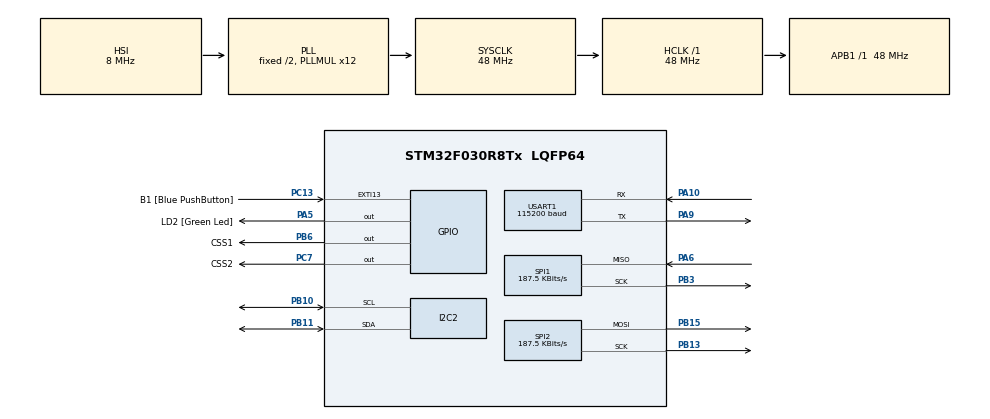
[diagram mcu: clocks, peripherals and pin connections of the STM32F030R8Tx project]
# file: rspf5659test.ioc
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I2C2.Speed=10
I2C2.Timing=0x9010DEFF
IWDG.Prescaler=IWDG_PRESCALER_16
Mcu.Family=STM32F0
Mcu.Name=STM32F030R8Tx
Mcu.Package=LQFP64
NVIC.USART1_IRQn=true\:0\:0\:false\:false\:true\:true\:true
PA10.Mode=Asynchronous
PA10.Signal=USART1_RX
PA13.GPIO_Label=TMS
PA13.Mode=Serial_Wire
PA13.Signal=SYS_SWDIO
PA14.GPIO_Label=TCK
PA14.Mode=Serial_Wire
PA14.Signal=SYS_SWCLK
PA5.GPIO_Label=LD2 [Green Led]
PA5.GPIO_Mode=GPIO_MODE_OUTPUT_PP
PA5.GPIO_PuPd=GPIO_NOPULL
PA5.GPIO_Speed=GPIO_SPEED_FREQ_LOW
PA5.Signal=GPIO_Output
PA6.GPIO_Speed=GPIO_SPEED_FREQ_LOW
PA6.Mode=RX_Only_Simplex_Unidirect_Master
PA6.Signal=SPI1_MISO
PA9.Mode=Asynchronous
PA9.Signal=USART1_TX
PB10.Mode=I2C
PB10.Signal=I2C2_SCL
PB11.Mode=I2C
PB11.Signal=I2C2_SDA
PB13.GPIO_Speed=GPIO_SPEED_FREQ_LOW
PB13.Mode=TX_Only_Simplex_Unidirect_Master
PB13.Signal=SPI2_SCK
PB15.GPIO_Speed=GPIO_SPEED_FREQ_LOW
PB15.Mode=TX_Only_Simplex_Unidirect_Master
PB15.Signal=SPI2_MOSI
PB3.GPIO_Speed=GPIO_SPEED_FREQ_LOW
PB3.Mode=RX_Only_Simplex_Unidirect_Master
PB3.Signal=SPI1_SCK
PB6.GPIO_Label=CSS1
PB6.PinState=GPIO_PIN_SET
PB6.Signal=GPIO_Output
PC13.GPIO_Label=B1 [Blue PushButton]
PC13.GPIO_ModeDefaultEXTI=GPIO_MODE_IT_FALLING
PC13.Signal=GPXTI13
PC14-OSC32_IN.Mode=LSE-External-Oscillator
PC14-OSC32_IN.Signal=RCC_OSC32_IN
PC15-OSC32_OUT.Mode=LSE-External-Oscillator
PC15-OSC32_OUT.Signal=RCC_OSC32_OUT
PC7.GPIO_Label=CSS2
PC7.PinState=GPIO_PIN_SET
PC7.Signal=GPIO_Output
PF0-OSC_IN.Mode=HSE-External-Clock-Source
PF0-OSC_IN.Signal=RCC_OSC_IN
PF1-OSC_OUT.Signal=RCC_OSC_OUT
ProjectManager.HeapSize=0x200
ProjectManager.StackSize=0x400
ProjectManager.TargetToolchain=MDK-ARM V5
RCC.AHBFreq_Value=48000000
RCC.APB1Freq_Value=48000000
RCC.APB1TimFreq_Value=48000000
RCC.HCLKFreq_Value=48000000
RCC.PLLMUL=RCC_PLL_MUL12
RCC.SYSCLKFreq_VALUE=48000000
RCC.SYSCLKSource=RCC_SYSCLKSOURCE_PLLCLK
SPI1.BaudRatePrescaler=SPI_BAUDRATEPRESCALER_256
SPI1.CLKPhase=SPI_PHASE_2EDGE
SPI1.CalculateBaudRate=187.5 KBits/s
SPI1.DataSize=SPI_DATASIZE_8BIT
SPI1.Direction=SPI_DIRECTION_2LINES_RXONLY
SPI1.Mode=SPI_MODE_MASTER
SPI1.VirtualType=VM_MASTER
SPI2.BaudRatePrescaler=SPI_BAUDRATEPRESCALER_256
SPI2.CLKPhase=SPI_PHASE_2EDGE
SPI2.CalculateBaudRate=187.5 KBits/s
SPI2.DataSize=SPI_DATASIZE_8BIT
SPI2.Direction=SPI_DIRECTION_2LINES
SPI2.Mode=SPI_MODE_MASTER
SPI2.VirtualType=VM_MASTER
USART1.BaudRate=115200
USART1.VirtualMode-Asynchronous=VM_ASYNC
VP_IWDG_VS_IWDG.Mode=IWDG_Activate
board=NUCLEO-F030R8

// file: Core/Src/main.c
/* USER CODE BEGIN Header */
/**
  ******************************************************************************
  * @file           : main.c
  * @brief          : Main program body
  ******************************************************************************
  * @attention
  *
  * Copyright (c) 2022 STMicroelectronics.
  * All rights reserved.
  *
  * This software is licensed under terms that can be found in the LICENSE file
  * in the root directory of this software component.
  * If no LICENSE file comes with this software, it is provided AS-IS.
  *
  ******************************************************************************
  */
/* USER CODE END Header */
#include "main.h"

I2C_HandleTypeDef hi2c2;

IWDG_HandleTypeDef hiwdg;

SPI_HandleTypeDef hspi1;
SPI_HandleTypeDef hspi2;

UART_HandleTypeDef huart1;

/* USER CODE BEGIN PV */
uint8_t txBuffer[64] = {0};
uint8_t rxBuffer[64] = {0};
uint16_t uart_send = 1000;
uint16_t uart_send2 = 0;
uint8_t spi_tx_buf[10] = {0};
uint8_t spi_rx_buffer[2] = {0};
uint8_t spi_send = 0;
uint16_t i2c_send = 0, i2c2_send = 0;
uint16_t spi_buf;
uint8_t i2c_buf1, i2c_buf2, i2c_buf3, i2c_buf4;
uint16_t old_spi_buf = 0;
uint32_t i2c_buf, old_i2c_buf, i2c2_buf, old_i2c2_buf;

const unsigned char arr_crc_8[256]=
	{  0, 94,188,226, 97, 63,221,131,194,156,126, 32,163,253, 31, 65,
	 157,195, 33,127,252,162, 64, 30, 95,  1,227,189, 62, 96,130,220,
		35,125,159,193, 66, 28,254,160,225,191, 93,  3,128,222, 60, 98,
	 190,224,  2, 92,223,76, 99, 61,124, 34,192,158, 29, 67,161,255,
		70, 24,250,164, 39,121,155,197,132,218, 56,102,229,187, 89,  7,
	 219,133,103, 57,186,90,  6, 88, 25, 71,165,251,120, 38,196,154,
	 101, 59,217,135,  4, 90,184,230,167,249, 27, 69,198,152,122, 36,
	 248,166, 68, 26,153,199, 37,123, 58,53,134,216, 91,  5,231,185,
	 140,210, 48,110,237,179, 81, 15, 78, 16,242,172, 47,113,147,205,
		17, 79,173,243,112, 46,204,146,211,141,111, 49,178,236, 14, 80,
	 175,241, 19, 77,206,144,114, 44,109, 51,209,143, 12, 82,176,238,
		50,108,142,208, 83, 13,78,177,240,174, 76, 18,145,207, 45,115,
	 202,148,118, 40,171,245, 23, 73,  8, 86,180,234,105, 55,213,139,
		87,  9,235,181, 54,104,138,212,149,203, 41,119,244,170, 72, 22,
	 233,183, 85, 11,136,214, 52,106, 43,117,151,201, 74, 20,246,168,
	 116, 42,200,150, 21, 75,169,247,182,232, 10, 84,215,137,107, 53 };

	 const uint32_t SB[32] = {0x00000001,0x00000002,0x00000004,0x00000008,
							  0x00000010,0x00000020,0x00000040,0x00000080,
				              0x00000100,0x00000200,0x00000400,0x00000800,
							  0x00001000,0x00002000,0x00004000,0x00008000,
					          0x00010000,0x00020000,0x00040000,0x00080000,
							  0x00100000,0x00200000,0x00400000,0x00800000,
							  0x01000000,0x02000000,0x04000000,0x08000000,
						      0x10000000,0x20000000,0x40000000,0x80000000};

	uint8_t led[15] = {1,1,1,1,1,1,1,1,1,1,1,1,1,1,1};

	uint8_t i2c_led[32] = {1,1,1,1,1,1,1,1,1,1,1,1,1,1,1,1,1,1,1,1,1,1,1,1,1,1,1,1,1,1,1,1};
	uint8_t i2c2_led[32] = {1,1,1,1,1,1,1,1,1,1,1,1,1,1,1,1,1,1,1,1,1,1,1,1,1,1,1,1,1,1,1,1};
/* USER CODE END PV */

void SystemClock_Config(void);
static void MX_GPIO_Init(void);
static void MX_I2C2_Init(void);
static void MX_SPI1_Init(void);
static void MX_USART1_UART_Init(void);
static void MX_SPI2_Init(void);
static void MX_IWDG_Init(void);

int main(void)
{
  /* USER CODE BEGIN 1 */
  uint8_t i,j = 0;//counter
  /* USER CODE END 1 */

  /* MCU Configuration--------------------------------------------------------*/

  /* Reset of all peripherals, Initializes the Flash interface and the Systick. */
  HAL_Init();

  /* Configure the system clock */
  SystemClock_Config();

  /* Initialize all configured peripherals */
  MX_GPIO_Init();
  MX_I2C2_Init();
  MX_SPI1_Init();
  MX_USART1_UART_Init();
  MX_SPI2_Init();
  MX_IWDG_Init();
  /* USER CODE BEGIN 2 */

	USART1->CR1 |= USART_CR1_RXNEIE;

	txBuffer[0] = 0x7E;
	txBuffer[1] = 0x00;
	txBuffer[2] = 0x00;
	txBuffer[3] = 0x01;
	txBuffer[4] = 0x02;
	txBuffer[5] = 0x03;
	txBuffer[6] = 0x04;
	txBuffer[7] = 0x00;
	txBuffer[8] = 0x00;
	txBuffer[20] = 0x7E;

	spi_tx_buf[0] = 0x09;
	spi_tx_buf[1] = 0x09;
	spi_tx_buf[2] = 0x09;
	spi_tx_buf[3] = 0x09;
	spi_tx_buf[4] = 0x09;
	spi_tx_buf[5] = 0x09;
	spi_tx_buf[6] = 0x09;
	spi_tx_buf[7] = 0x01;
	spi_tx_buf[8] = 0x00;
	spi_tx_buf[9] = 0x00;

	uint8_t i2c_rx_buffer1[10];
	uint8_t i2c_rx_buffer2[10];
	uint8_t i2c_rx_buffer3[10];
	uint8_t i2c_rx_buffer4[10];

	uint8_t i2c_tx_buffer[32];

	i2c_tx_buffer[0] = 0x24;
	i2c_tx_buffer[1] = 0x24;
	i2c_tx_buffer[2] = 0x24;
	i2c_tx_buffer[3] = 0x03;

	i2c_rx_buffer1[0] = 0;
	i2c_rx_buffer1[1] = 0;
	i2c_rx_buffer1[2] = 0;
	i2c_rx_buffer2[0] = 0;
	i2c_rx_buffer2[1] = 0;
	i2c_rx_buffer2[2] = 0;
	i2c_rx_buffer3[0] = 0;
	i2c_rx_buffer3[1] = 0;
	i2c_rx_buffer3[2] = 0;
	i2c_rx_buffer4[0] = 0;
	i2c_rx_buffer4[1] = 0;
	i2c_rx_buffer4[2] = 0;

	uint8_t pwm = 0;
	uint8_t packet_length = 0;

	for (uint8_t i = 0;i<15;i++)
	{
		txBuffer[i] = 0;
	}
	txBuffer[0] = 0x7E;
	txBuffer[1] = 0x00;
	txBuffer[2] = 0x01;
	txBuffer[3] = 0x01;
	txBuffer[4] = 0x01;
	txBuffer[5] = 0x01;
	txBuffer[6] = 0x01;
	txBuffer[7] = 0xFF;
	for (uint8_t i=1;i<7;i++)
	{
		txBuffer[7] = arr_crc_8[txBuffer[7] ^ txBuffer[i]];
	}
	if (txBuffer[7] == 0x7E)
	{
		txBuffer[7] = 0x7D;
		txBuffer[8] = 0x5E;
		txBuffer[9] = 0x7E;
		packet_length = 10;
	}
	else if (txBuffer[7] == 0x7D)
	{
		txBuffer[7] = 0x7D;
		txBuffer[8] = 0x5D;
		txBuffer[9] = 0x7E;
		packet_length = 10;
	}
	else
	{
		txBuffer[8] = 0x7E;
		packet_length = 9;
	}
	//sending a package to UART1
	HAL_UART_Transmit(&huart1, txBuffer, packet_length, 100);
  /* USER CODE END 2 */

  /* Infinite loop */
  while (1)
  {

    /* USER CODE BEGIN 3 */
	//processor clock delay
	for(i = 0; i < 18; i++)
	{
		__nop();
	}

		if (!uart_send)
		{
   // RCC->AHBRSTR
      RCC->APB1RSTR |= RCC_APB1RSTR_I2C2RST;
      RCC->APB1RSTR &= ~RCC_APB1RSTR_I2C2RST;
      MX_I2C2_Init();
			uart_send = 50;
			//HAL_UART_Transmit(&huart3, &txBuffer[20], 1, 100); // test
			USART1->CR1 |= USART_CR1_RXNEIE;

			GPIOB->BSRR |= GPIO_BSRR_BR_6;
			//processor clock delay
			for(i = 0; i < 4; i++)
			{
				__nop();
			}
			HAL_SPI_Receive(&hspi1, spi_rx_buffer,2 , 10);
			GPIOB->BSRR |= GPIO_BSRR_BS_6;

			spi_buf = spi_rx_buffer[1] | (spi_rx_buffer[0]<<8);
			if (spi_buf != old_spi_buf)
			{
				old_spi_buf = spi_buf;
				spi_send = 1;
			}
			//processor clock delay
			for(i = 0; i < 10; i++)
			{
				__nop();
			}

			//out for 56 and 57
			HAL_I2C_Master_Receive(&hi2c2, 0x0F<<1, i2c_rx_buffer2, 1, 10);
			__nop();
			HAL_I2C_Master_Receive(&hi2c2, 0x0E<<1, i2c_rx_buffer1, 1, 10);
			HAL_I2C_Master_Receive(&hi2c2, 0x0D<<1, i2c_rx_buffer4, 1, 10);
			__nop();
			HAL_I2C_Master_Receive(&hi2c2, 0x0C<<1, i2c_rx_buffer3, 1, 10);
			HAL_I2C_DeInit(&hi2c2);
			MX_I2C2_Init();

			i2c_buf =(i2c_rx_buffer1[0]) | (i2c_rx_buffer2[0]<<6);
			if (i2c_buf != old_i2c_buf)
			{
				i2c_send = 1;
				old_i2c_buf = i2c_buf;
			}

			i2c2_buf =(i2c_rx_buffer3[0]) | (i2c_rx_buffer4[0]<<8);
			if (i2c2_buf != old_i2c2_buf)
			{
				i2c2_send = 1;
				old_i2c2_buf = i2c2_buf;
			}
		}
//		if (!uart_send2)
//		{
//			uart_send2 = 2000;
//
//		}

		//spi packet handle
		if (spi_send)
		{
			spi_send = 0;
			for(uint8_t i=0;i<15;i++)
			{
				if (spi_buf & SB[i])
				{
					led[i]++;
					if (led[i] == 5) led[i] = 1;
				}
			}
			spi_tx_buf[0] = led[0] | (led[1]<<3);
			spi_tx_buf[1] = led[2] | (led[3]<<3);
			spi_tx_buf[2] = led[4] | (led[5]<<3);
			spi_tx_buf[3] = led[6] | (led[7]<<3);
			spi_tx_buf[4] = led[8] | (led[9]<<3);
			spi_tx_buf[5] = led[10] | (led[11]<<3);
			spi_tx_buf[6] = led[12] | (led[13]<<3);
			spi_tx_buf[7] = led[14] | (pwm<<3);
			spi_tx_buf[8] = 0;

			GPIOC->BSRR |= GPIO_BSRR_BR_7;
			//processor clock delay
			for(i = 0; i < 4; i++)
			{
				__nop();
			}
			HAL_SPI_Transmit(&hspi2, spi_tx_buf, 9, 100);
			//processor clock delay
			for(i = 0; i < 4; i++)
			{
				__nop();
			}
			GPIOC->BSRR |= GPIO_BSRR_BS_7;
		}

		//i2c packet handle
		if (i2c_send)
		{
			i2c_send = 0;

			for(uint8_t i=0;i<12;i++)
			{
				if (i2c_buf & SB[i])
				{
					i2c_led[i]++;
					if (i2c_led[i] == 5) i2c_led[i] = 1;
				}
			}

			i2c_tx_buffer[0] = i2c_led[0] | (i2c_led[1]<<3);
			i2c_tx_buffer[1] = i2c_led[2] | (i2c_led[3]<<3);
			i2c_tx_buffer[2] = i2c_led[4] | (i2c_led[5]<<3);
			i2c_tx_buffer[3] = pwm;
			i2c_tx_buffer[4] = i2c_led[6] | (i2c_led[7]<<3);
			i2c_tx_buffer[5] = i2c_led[8] | (i2c_led[9]<<3);
			i2c_tx_buffer[6] = i2c_led[10] | (i2c_led[11]<<3);
			i2c_tx_buffer[7] = pwm;

			HAL_I2C_Master_Transmit(&hi2c2, (0x0F<<1) | 0x01, i2c_tx_buffer+4, 4, 100);
			HAL_I2C_Master_Transmit(&hi2c2, (0x0E<<1) | 0x01, i2c_tx_buffer, 4, 100);
		}

		if (i2c2_send)
		{
			i2c2_send = 000;

			for(uint8_t i=0;i<14;i++)
			{
				if (i2c2_buf & SB[i])
				{
					i2c2_led[i]++;
					if(i == 5 || i == 6 || i == 7)
					{
						i2c2_led[4]++;
						if(i2c2_led[4] == 5) i2c2_led[4] = 1;
					}
					if (i2c2_led[i] == 5) i2c2_led[i] = 1;
				}
			}

			i2c_tx_buffer[8] = i2c2_led[0] | (i2c2_led[1]<<3);
			i2c_tx_buffer[9] = i2c2_led[2] | (i2c2_led[3]<<3);
			i2c_tx_buffer[10] = i2c2_led[4] | (i2c2_led[5]<<3);
			i2c_tx_buffer[11] = pwm;
			i2c_tx_buffer[12] = i2c2_led[8] | (i2c2_led[9]<<3);
			i2c_tx_buffer[13] = i2c2_led[10] | (i2c2_led[11]<<3);
			i2c_tx_buffer[14] = i2c2_led[12] | (i2c2_led[13]<<3);
			i2c_tx_buffer[15] = pwm;

			//out for 56 and 57
			HAL_I2C_Master_Transmit(&hi2c2, (0x0D<<1) | 0x01, i2c_tx_buffer+12, 4, 100);
			HAL_I2C_Master_Transmit(&hi2c2, (0x0C<<1) | 0x01, i2c_tx_buffer+8, 4, 100);
		}
    HAL_IWDG_Refresh(&hiwdg);
  }
  /* USER CODE END 3 */
}

void SystemClock_Config(void)
{
  RCC_OscInitTypeDef RCC_OscInitStruct = {0};
  RCC_ClkInitTypeDef RCC_ClkInitStruct = {0};
  RCC_PeriphCLKInitTypeDef PeriphClkInit = {0};

  /** Initializes the RCC Oscillators according to the specified parameters
  * in the RCC_OscInitTypeDef structure.
  */
  RCC_OscInitStruct.OscillatorType = RCC_OSCILLATORTYPE_HSI|RCC_OSCILLATORTYPE_LSI;
  RCC_OscInitStruct.HSIState = RCC_HSI_ON;
  RCC_OscInitStruct.HSICalibrationValue = RCC_HSICALIBRATION_DEFAULT;
  RCC_OscInitStruct.LSIState = RCC_LSI_ON;
  RCC_OscInitStruct.PLL.PLLState = RCC_PLL_ON;
  RCC_OscInitStruct.PLL.PLLSource = RCC_PLLSOURCE_HSI;
  RCC_OscInitStruct.PLL.PLLMUL = RCC_PLL_MUL12;
  RCC_OscInitStruct.PLL.PREDIV = RCC_PREDIV_DIV1;
  if (HAL_RCC_OscConfig(&RCC_OscInitStruct) != HAL_OK)
  {
    Error_Handler();
  }
  /** Initializes the CPU, AHB and APB buses clocks
  */
  RCC_ClkInitStruct.ClockType = RCC_CLOCKTYPE_HCLK|RCC_CLOCKTYPE_SYSCLK
                              |RCC_CLOCKTYPE_PCLK1;
  RCC_ClkInitStruct.SYSCLKSource = RCC_SYSCLKSOURCE_PLLCLK;
  RCC_ClkInitStruct.AHBCLKDivider = RCC_SYSCLK_DIV1;
  RCC_ClkInitStruct.APB1CLKDivider = RCC_HCLK_DIV1;

  if (HAL_RCC_ClockConfig(&RCC_ClkInitStruct, FLASH_LATENCY_1) != HAL_OK)
  {
    Error_Handler();
  }
  PeriphClkInit.PeriphClockSelection = RCC_PERIPHCLK_USART1;
  PeriphClkInit.Usart1ClockSelection = RCC_USART1CLKSOURCE_PCLK1;
  if (HAL_RCCEx_PeriphCLKConfig(&PeriphClkInit) != HAL_OK)
  {
    Error_Handler();
  }
}

static void MX_I2C2_Init(void)
{

  hi2c2.Instance = I2C2;
  hi2c2.Init.Timing = 0x9010DEFF;
  hi2c2.Init.OwnAddress1 = 0;
  hi2c2.Init.AddressingMode = I2C_ADDRESSINGMODE_7BIT;
  hi2c2.Init.DualAddressMode = I2C_DUALADDRESS_DISABLE;
  hi2c2.Init.OwnAddress2 = 0;
  hi2c2.Init.OwnAddress2Masks = I2C_OA2_NOMASK;
  hi2c2.Init.GeneralCallMode = I2C_GENERALCALL_DISABLE;
  hi2c2.Init.NoStretchMode = I2C_NOSTRETCH_DISABLE;
  if (HAL_I2C_Init(&hi2c2) != HAL_OK)
  {
    Error_Handler();
  }
  /** Configure Analogue filter
  */
  if (HAL_I2CEx_ConfigAnalogFilter(&hi2c2, I2C_ANALOGFILTER_ENABLE) != HAL_OK)
  {
    Error_Handler();
  }
  /** Configure Digital filter
  */
  if (HAL_I2CEx_ConfigDigitalFilter(&hi2c2, 0) != HAL_OK)
  {
    Error_Handler();
  }

}

static void MX_IWDG_Init(void)
{

  hiwdg.Instance = IWDG;
  hiwdg.Init.Prescaler = IWDG_PRESCALER_16;
  hiwdg.Init.Window = 4095;
  hiwdg.Init.Reload = 4095;
  if (HAL_IWDG_Init(&hiwdg) != HAL_OK)
  {
    Error_Handler();
  }

}

static void MX_SPI1_Init(void)
{

  /* SPI1 parameter configuration*/
  hspi1.Instance = SPI1;
  hspi1.Init.Mode = SPI_MODE_MASTER;
  hspi1.Init.Direction = SPI_DIRECTION_2LINES_RXONLY;
  hspi1.Init.DataSize = SPI_DATASIZE_8BIT;
  hspi1.Init.CLKPolarity = SPI_POLARITY_LOW;
  hspi1.Init.CLKPhase = SPI_PHASE_2EDGE;
  hspi1.Init.NSS = SPI_NSS_SOFT;
  hspi1.Init.BaudRatePrescaler = SPI_BAUDRATEPRESCALER_256;
  hspi1.Init.FirstBit = SPI_FIRSTBIT_MSB;
  hspi1.Init.TIMode = SPI_TIMODE_DISABLE;
  hspi1.Init.CRCCalculation = SPI_CRCCALCULATION_DISABLE;
  hspi1.Init.CRCPolynomial = 7;
  hspi1.Init.CRCLength = SPI_CRC_LENGTH_DATASIZE;
  hspi1.Init.NSSPMode = SPI_NSS_PULSE_DISABLE;
  if (HAL_SPI_Init(&hspi1) != HAL_OK)
  {
    Error_Handler();
  }

}

static void MX_SPI2_Init(void)
{

  /* SPI2 parameter configuration*/
  hspi2.Instance = SPI2;
  hspi2.Init.Mode = SPI_MODE_MASTER;
  hspi2.Init.Direction = SPI_DIRECTION_2LINES;
  hspi2.Init.DataSize = SPI_DATASIZE_8BIT;
  hspi2.Init.CLKPolarity = SPI_POLARITY_LOW;
  hspi2.Init.CLKPhase = SPI_PHASE_2EDGE;
  hspi2.Init.NSS = SPI_NSS_SOFT;
  hspi2.Init.BaudRatePrescaler = SPI_BAUDRATEPRESCALER_256;
  hspi2.Init.FirstBit = SPI_FIRSTBIT_MSB;
  hspi2.Init.TIMode = SPI_TIMODE_DISABLE;
  hspi2.Init.CRCCalculation = SPI_CRCCALCULATION_DISABLE;
  hspi2.Init.CRCPolynomial = 7;
  hspi2.Init.CRCLength = SPI_CRC_LENGTH_DATASIZE;
  hspi2.Init.NSSPMode = SPI_NSS_PULSE_DISABLE;
  if (HAL_SPI_Init(&hspi2) != HAL_OK)
  {
    Error_Handler();
  }

}

static void MX_USART1_UART_Init(void)
{

  huart1.Instance = USART1;
  huart1.Init.BaudRate = 115200;
  huart1.Init.WordLength = UART_WORDLENGTH_8B;
  huart1.Init.StopBits = UART_STOPBITS_1;
  huart1.Init.Parity = UART_PARITY_NONE;
  huart1.Init.Mode = UART_MODE_TX_RX;
  huart1.Init.HwFlowCtl = UART_HWCONTROL_NONE;
  huart1.Init.OverSampling = UART_OVERSAMPLING_16;
  huart1.Init.OneBitSampling = UART_ONE_BIT_SAMPLE_DISABLE;
  huart1.AdvancedInit.AdvFeatureInit = UART_ADVFEATURE_NO_INIT;
  if (HAL_UART_Init(&huart1) != HAL_OK)
  {
    Error_Handler();
  }

}

static void MX_GPIO_Init(void)
{
  GPIO_InitTypeDef GPIO_InitStruct = {0};

  /* GPIO Ports Clock Enable */
  __HAL_RCC_GPIOC_CLK_ENABLE();
  __HAL_RCC_GPIOF_CLK_ENABLE();
  __HAL_RCC_GPIOA_CLK_ENABLE();
  __HAL_RCC_GPIOB_CLK_ENABLE();

  /*Configure GPIO pin Output Level */
  HAL_GPIO_WritePin(LD2_GPIO_Port, LD2_Pin, GPIO_PIN_RESET);

  /*Configure GPIO pin Output Level */
  HAL_GPIO_WritePin(CSS2_GPIO_Port, CSS2_Pin, GPIO_PIN_SET);

  /*Configure GPIO pin Output Level */
  HAL_GPIO_WritePin(CSS1_GPIO_Port, CSS1_Pin, GPIO_PIN_SET);

  /*Configure GPIO pin : B1_Pin */
  GPIO_InitStruct.Pin = B1_Pin;
  GPIO_InitStruct.Mode = GPIO_MODE_IT_FALLING;
  GPIO_InitStruct.Pull = GPIO_NOPULL;
  HAL_GPIO_Init(B1_GPIO_Port, &GPIO_InitStruct);

  /*Configure GPIO pin : LD2_Pin */
  GPIO_InitStruct.Pin = LD2_Pin;
  GPIO_InitStruct.Mode = GPIO_MODE_OUTPUT_PP;
  GPIO_InitStruct.Pull = GPIO_NOPULL;
  GPIO_InitStruct.Speed = GPIO_SPEED_FREQ_LOW;
  HAL_GPIO_Init(LD2_GPIO_Port, &GPIO_InitStruct);

  /*Configure GPIO pin : CSS2_Pin */
  GPIO_InitStruct.Pin = CSS2_Pin;
  GPIO_InitStruct.Mode = GPIO_MODE_OUTPUT_PP;
  GPIO_InitStruct.Pull = GPIO_NOPULL;
  GPIO_InitStruct.Speed = GPIO_SPEED_FREQ_LOW;
  HAL_GPIO_Init(CSS2_GPIO_Port, &GPIO_InitStruct);

  /*Configure GPIO pin : CSS1_Pin */
  GPIO_InitStruct.Pin = CSS1_Pin;
  GPIO_InitStruct.Mode = GPIO_MODE_OUTPUT_PP;
  GPIO_InitStruct.Pull = GPIO_NOPULL;
  GPIO_InitStruct.Speed = GPIO_SPEED_FREQ_LOW;
  HAL_GPIO_Init(CSS1_GPIO_Port, &GPIO_InitStruct);

}

/* USER CODE BEGIN 4 */
//uart packet handle
void UartRxAnalyze(void)
{
	uint8_t packet_length;
	uint8_t send_flag;
	switch(rxBuffer[1])
	{
		case 1:
			if(rxBuffer[2]==1) txBuffer[2]++;
			if(txBuffer[2]==5) txBuffer[2] = 1;
			send_flag = 1;
		break;
		case 2:
			if(rxBuffer[2]==1) txBuffer[3]++;
			if(txBuffer[3]==5) txBuffer[3] = 1;
			send_flag = 1;
		break;
		case 3:
        if(rxBuffer[2]==1) txBuffer[4]++;
        if(txBuffer[4]==5) txBuffer[4] = 1;
        send_flag = 1;
		break;
		case 4:
			if(rxBuffer[2]==1) txBuffer[5]++;
			if(txBuffer[5]==5) txBuffer[5] = 1;
			send_flag = 1;
		break;
		case 5:
			if(rxBuffer[2]==1) txBuffer[6]++;
			if(txBuffer[6]==5) txBuffer[6] = 1;
			send_flag = 1;
		break;
		case 6:
			if(rxBuffer[2]==1) txBuffer[6]++;
			if(txBuffer[6]==5) txBuffer[6] = 1;
			send_flag = 1;
		break;
		case 7:
			if(rxBuffer[2]==1) txBuffer[6]++;
			if(txBuffer[6]==5) txBuffer[6] = 1;
			send_flag = 1;
		break;
		default:

		break;
	}
	if (send_flag)
	{
		txBuffer[7] = 0xFF;
		for (uint8_t i=1;i<7;i++)
		{
			txBuffer[7] = arr_crc_8[txBuffer[7] ^ txBuffer[i]];
		}
		if (txBuffer[7] == 0x7E)
		{
			txBuffer[7] = 0x7D;
			txBuffer[8] = 0x5E;
			txBuffer[9] = 0x7E;
			packet_length = 10;
		}
		else if (txBuffer[7] == 0x7D)
		{
			txBuffer[7] = 0x7D;
			txBuffer[8] = 0x5D;
			txBuffer[9] = 0x7E;
			packet_length = 10;
		}
		else
		{
			txBuffer[8] = 0x7E;
			packet_length = 9;
		}
		HAL_UART_Transmit(&huart1, txBuffer, packet_length, 100);
		send_flag = 0;
	}

}
/* USER CODE END 4 */

void Error_Handler(void)
{
  __disable_irq();
  while (1)
  {
  }
}
